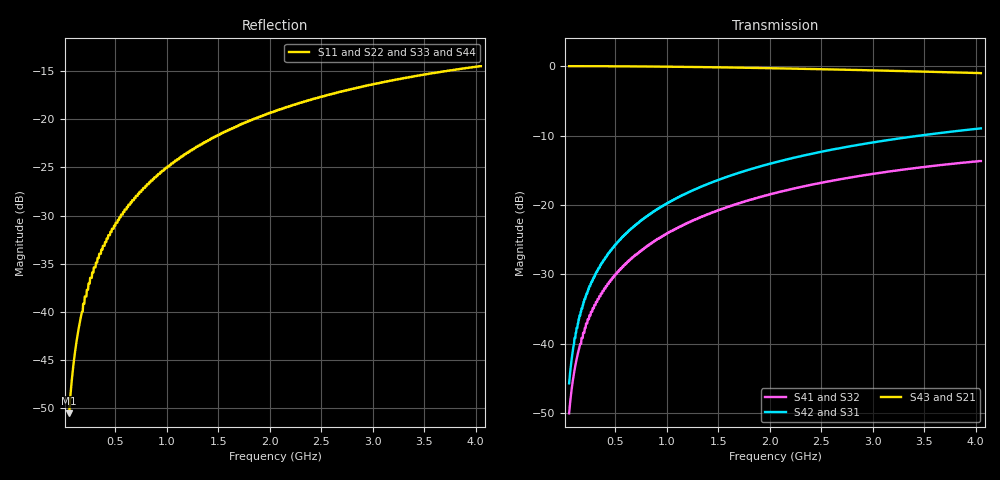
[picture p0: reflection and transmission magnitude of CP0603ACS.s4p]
!	AVX THIN FILM OPERATION
!	CP0603 COUPLERS
!	P/N CP0603AxxxxCSTR
!	Network	Analyzer HP8720ES.07.64:Feb23,2000 Serial No.US39172382
!	Hewlett-Packard
!	23 March 2011
# MHZ S MA  R 50
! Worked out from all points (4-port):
!   1000 points, 50 MHz to 4.05 GHz, reference 50 ohm
!   strongest paths, dB at 50 MHz, 1.051 GHz, 2.052 GHz, 3.053 GHz, 4.05 GHz:
!     S43: 0.0, -0.1, -0.3, -0.6, -1.0
!     S21: 0.0, -0.1, -0.3, -0.6, -1.0
!     S42: -45.7, -19.3, -13.9, -10.9, -9.0
!     S31: -45.7, -19.3, -13.9, -10.9, -9.0
!     S41: -50.0, -23.7, -18.3, -15.4, -13.7
!     S32: -50.0, -23.7, -18.3, -15.4, -13.7
!   lowest |S11| = -50.6 dB at 50 MHz (marker M1), VSWR 1.01, Z = 50.1 - j0.287 ohm
!   |S11| at or under -10 dB: start of sweep to end of sweep
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50  0.002963 -75.0  0.999 -0.3  0.005187 89.6  0.003155 89.4
    0.999 -0.3  0.002963 -75.0  0.003155 89.4  0.005187 89.6
    0.005187 89.6  0.003155 89.4  0.002963 -75.0  0.999 -0.3
    0.003155 89.4  0.005187 89.6  0.999 -0.3  0.002963 -75.0
154.104  0.008826 -86.8  0.999 -1.0  0.016 88.7  0.00972 88.2
         0.999 -1.0  0.008826 -86.8  0.00972 88.2  0.016 88.7
         0.016 88.7  0.00972 88.2  0.008826 -86.8  0.999 -1.0
         0.00972 88.2  0.016 88.7  0.999 -1.0  0.008826 -86.8
298.248  0.017 -91.1  0.998 -1.9  0.031 87.5  0.019 86.5
         0.998 -1.9  0.017 -91.1  0.019 86.5  0.031 87.5
         0.031 87.5  0.019 86.5  0.017 -91.1  0.998 -1.9
         0.019 86.5  0.031 87.5  0.998 -1.9  0.017 -91.1
542.492  0.031 -95.5  0.997 -3.4  0.056 85.5  0.034 83.7
         0.997 -3.4  0.031 -95.5  0.034 83.7  0.056 85.5
         0.056 85.5  0.034 83.7  0.031 -95.5  0.997 -3.4
         0.034 83.7  0.056 85.5  0.997 -3.4  0.031 -95.5
894.845  0.05 -100.5  0.992 -5.6  0.092 82.7  0.056 79.6
         0.992 -5.6  0.05 -100.5  0.056 79.6  0.092 82.7
         0.092 82.7  0.056 79.6  0.05 -100.5  0.992 -5.6
         0.056 79.6  0.092 82.7  0.992 -5.6  0.05 -100.5
2088.038  0.112 -115.7  0.963 -12.6  0.206 73.4  0.124 66.4
          0.963 -12.6  0.112 -115.7  0.124 66.4  0.206 73.4
          0.206 73.4  0.124 66.4  0.112 -115.7  0.963 -12.6
          0.124 66.4  0.206 73.4  0.963 -12.6  0.112 -115.7
4050  0.189 -137.0  0.89 -22.1  0.356 60.8  0.207 47.6
      0.89 -22.1  0.189 -137.0  0.207 47.6  0.356 60.8
      0.356 60.8  0.207 47.6  0.189 -137.0  0.89 -22.1
      0.207 47.6  0.356 60.8  0.89 -22.1  0.189 -137.0
